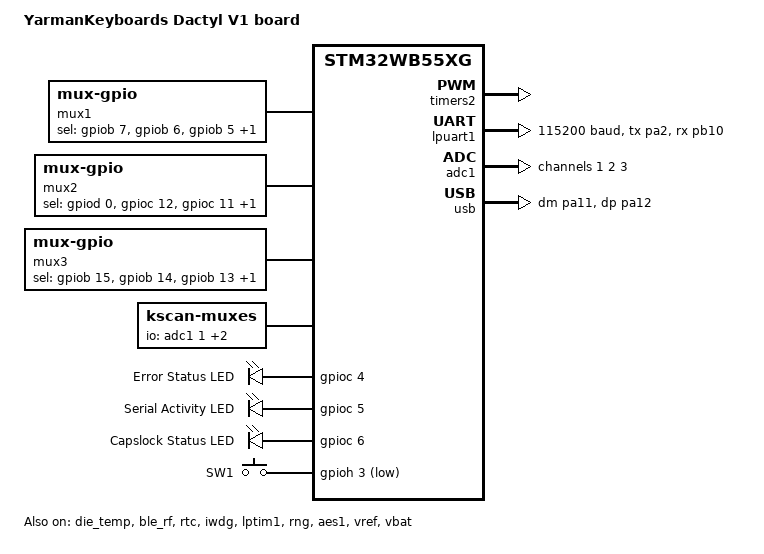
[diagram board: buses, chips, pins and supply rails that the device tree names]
/dts-v1/;
#include <st/wb/stm32wb55Xg.dtsi>
#include <st/wb/stm32wb55rgvx-pinctrl.dtsi>
#include <zephyr/dt-bindings/input/input-event-codes.h>
#include <zephyr/dt-bindings/led/led.h>

/ {
	model = "YarmanKeyboards Dactyl V1 board";
	compatible = "ykb,dactyl_v1";

	chosen {
		zephyr,console = &lpuart1;
		zephyr,shell-uart = &lpuart1;
		zephyr,bt-mon-uart = &lpuart1;
		zephyr,bt-c2h-uart = &lpuart1;
		zephyr,sram = &sram0;
		zephyr,flash = &flash0;
		zephyr,code-partition = &slot0_partition;
        zephyr,settings-partition = &storage_partition;

        ykb,backlight = &led_strip;
	};

    mux1: mux1 {
        compatible = "mux-gpio";
        sel-gpios = <&gpiob 7 GPIO_ACTIVE_HIGH>,
                    <&gpiob 6 GPIO_ACTIVE_HIGH>,
                    <&gpiob 5 GPIO_ACTIVE_HIGH>,
                    <&gpiob 4 GPIO_ACTIVE_HIGH>;
        channels = <11>;
        #mux-cells = <0>;
    };

    mux2: mux2 {
        compatible = "mux-gpio";
        sel-gpios = <&gpiod 0 GPIO_ACTIVE_HIGH>,
                    <&gpioc 12 GPIO_ACTIVE_HIGH>,
                    <&gpioc 11 GPIO_ACTIVE_HIGH>,
                    <&gpioc 10 GPIO_ACTIVE_HIGH>;
        channels = <15>;
        #mux-cells = <0>;
    };

    mux3: mux3 {
        compatible = "mux-gpio";
        sel-gpios = <&gpiob 15 GPIO_ACTIVE_HIGH>,
                    <&gpiob 14 GPIO_ACTIVE_HIGH>,
                    <&gpiob 13 GPIO_ACTIVE_HIGH>,
                    <&gpiob 12 GPIO_ACTIVE_HIGH>;
        channels = <9>;
        #mux-cells = <0>;
    };

    kscan: kscan {
        compatible = "kscan-muxes";

        muxes = <&mux1>, <&mux2>, <&mux3>;
        mux-names = "mux1", "mux2", "mux3";

        io-channels = <&adc1 1>, <&adc1 2>, <&adc1 3>;
        io-channel-names = "cmn1", "cmn2", "cmn3";
    };

	leds: leds {
		compatible = "gpio-leds";

		led_error_status: led_error_status {
			gpios = <&gpioc 4 GPIO_ACTIVE_HIGH>;
			label = "Error Status LED";
		};

		led_serial_activity: led_serial_activity {
			gpios = <&gpioc 5 GPIO_ACTIVE_HIGH>;
			label = "Serial Activity LED";
		};

		led_capslock_status: led_capslock_status {
			gpios = <&gpioc 6 GPIO_ACTIVE_HIGH>;
			label = "Capslock Status LED";
		};
	};

    led_strip: led_strip {
        compatible = "ws2812-pwm-dma-stm32wb";

        chain-length = <35>;
        color-mapping = <LED_COLOR_ID_GREEN
                         LED_COLOR_ID_RED
                         LED_COLOR_ID_BLUE>;

        bit-rate = <800000>; // 800Khz

        st,tim-base      = <0x40000000>;  // TIM2 base
        st,tim-channel   = <12>;          // TIM_CHANNEL_4
        st,dma-chan-inst = <0x40020008>;  // DMA1_Channel1 base
        st,dma-req       = <31>;          // TIM2_CH4_REQ
        st,dma-chan-irqn = <11>;          // DMA1_Channel1_IRQn
        st,tim-dma-id    = <4>;           // TIM_DMA_ID_CC4
    };

	hid_dev_0: hid_dev_0 {
		compatible = "zephyr,hid-device";
		label = "HID0";
		protocol-code = "keyboard";
		in-report-size = <64>;
		in-polling-period-us = <1000>;
	};

	gpio_keys {
		compatible = "gpio-keys";

		button_boot0: button_boot0 {
			label = "SW1";
			gpios = <&gpioh 3 (GPIO_ACTIVE_LOW | GPIO_PULL_UP)>;
		};
	};

	aliases {
		watchdog0 = &iwdg;
		die-temp0 = &die_temp;
		volt-sensor0 = &vref;
		volt-sensor1 = &vbat;
		mcuboot-led0 = &led_error_status;
		mcuboot-button0 = &button_boot0;
	};
};

&die_temp {
	status = "okay";
};

&clk_lsi1 {
	status = "okay";
};

&clk_hse {
	status = "okay";
};

&clk_lse {
	status = "okay";
};

&clk_hsi48 {
	status = "okay";
};

&clk48 {
	clocks = <&rcc STM32_SRC_HSI48 CLK48_SEL(0)>;
    status = "okay";
};

&pll {
    status = "okay";
    clocks = <&clk_hse>;
    div-m = <2>;
    mul-n = <8>;
    div-r = <2>;
    div-q = <2>;
    div-p = <2>;
};

&ble_rf {
    clocks = <&rcc STM32_CLOCK(AHB3, 20)>,
             <&rcc STM32_SRC_LSE RFWKP_SEL(1)>;
    status = "okay";
};

&rcc {
	clocks = <&pll>;
	clock-frequency = <DT_FREQ_M(64)>;
	cpu1-prescaler = <1>;
	cpu2-prescaler = <2>;
	ahb4-prescaler = <1>;
	apb1-prescaler = <1>;
	apb2-prescaler = <1>;
};

//
// &i2c3 {
// 	pinctrl-0 = <&i2c3_scl_pc0 &i2c3_sda_pc1>;
// 	pinctrl-names = "default";
// 	status = "okay";
// 	clock-frequency = <I2C_BITRATE_FAST>;
// };

&rtc {
	clocks = <&rcc STM32_CLOCK(APB1, 10)>,
		 <&rcc STM32_SRC_LSE RTC_SEL(2)>;
	status = "okay";

	backup_regs {
		status = "okay";
	};
};

&timers2 {
	st,prescaler = <0>;
	status = "okay";

	pwm1: pwm {
		status = "okay";
		pinctrl-0 = <&tim2_ch4_pa3>;
		pinctrl-names = "default";
	};

};

&dma1 {
    status = "okay";
};

&dmamux1 {
    status = "okay";
};

&lpuart1 {
	pinctrl-0 = <&lpuart1_tx_pa2 &lpuart1_rx_pb10>;
	hw-flow-control;
	pinctrl-names = "default";
	current-speed = <115200>;
	status = "okay";
};

&adc1 {
	st,adc-clock-source = "SYNC";
	st,adc-prescaler = <4>;
    sampling-times = <48>;
	status = "okay";

    #address-cells = <1>;
    #size-cells = <0>;

    channel@1 {
        reg = <1>;
        zephyr,gain = "ADC_GAIN_1";
        zephyr,reference = "ADC_REF_INTERNAL";
        zephyr,acquisition-time = <ADC_ACQ_TIME_DEFAULT>;
        zephyr,resolution = <10>;
    };

    channel@2 {
        reg = <2>;
        zephyr,gain = "ADC_GAIN_1";
        zephyr,reference = "ADC_REF_INTERNAL";
        zephyr,acquisition-time = <ADC_ACQ_TIME_DEFAULT>;
        zephyr,resolution = <10>;
    };

    channel@3 {
        reg = <3>;
        zephyr,gain = "ADC_GAIN_1";
        zephyr,reference = "ADC_REF_INTERNAL";
        zephyr,acquisition-time = <ADC_ACQ_TIME_DEFAULT>;
        zephyr,resolution = <10>;
    };
};

&iwdg {
	status = "okay";
};

stm32_lp_tick_source: &lptim1 {
	clocks = <&rcc STM32_CLOCK(APB1, 31)>,
		 <&rcc STM32_SRC_LSE LPTIM1_SEL(3)>;
	status = "okay";
};

zephyr_udc0: &usb {
	status = "okay";
	pinctrl-0 = <&usb_dm_pa11 &usb_dp_pa12>;
	pinctrl-names = "default";
};

&rng {
	status = "okay";
};

&aes1 {
	status = "okay";
};

&flash0 {
	partitions {
		compatible = "fixed-partitions";
		#address-cells = <1>;
		#size-cells = <1>;

		boot_partition: partition@0 {
			label = "mcuboot";
			reg = <0x00000000 DT_SIZE_K(48)>;
		};

		slot0_partition: partition@c000 {
			label = "image-0";
			reg = <0x0000c000 DT_SIZE_K(400)>;
		};

		slot1_partition: partition@70000 {
			label = "image-1";
			reg = <0x00070000 DT_SIZE_K(400)>;
		};

		scratch_partition: partition@d4000 {
			label = "image-scratch";
			reg = <0x000d4000 DT_SIZE_K(8)>;
		};

        storage_partition: partition@d6000 {
            label = "storage";
            reg = <0x000d6000 DT_SIZE_K(16)>;
        };
	};
};

&vref {
	status = "okay";
};

&vbat {
	status = "okay";
};
